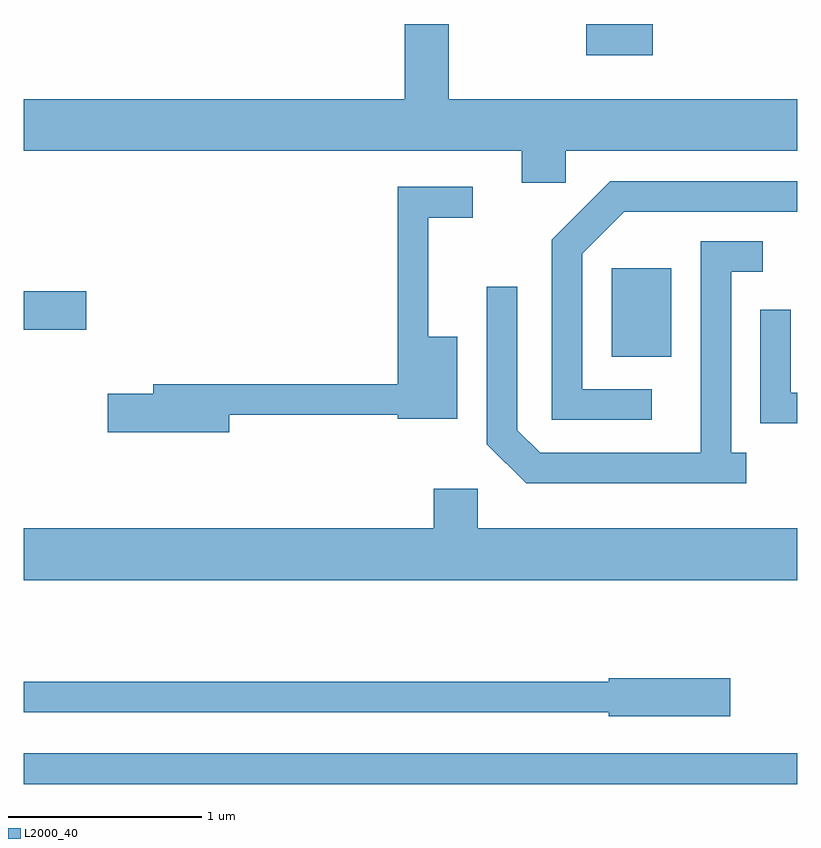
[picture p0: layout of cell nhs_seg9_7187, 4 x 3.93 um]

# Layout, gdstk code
import gdstk
lib = gdstk.Library(unit=1e-6, precision=1e-09)
def R(c, l, rs):  # rectangles x0, y0, x1, y1
    for r in rs: c.add(gdstk.rectangle(r[:2], r[2:], *l))
def P(c, l, *ps):  # polygons
    for p in ps: c.add(gdstk.Polygon(p, *l))
L2000_40 = (2000, 40)

nhs_seg9_7187 = lib.new_cell('nhs_seg9_7187')
R(nhs_seg9_7187, L2000_40, [(397.611,2028.501,401.611,2028.659), (400.651,2030.711,400.959,2031.169), (397.611,2030.851,397.934,2031.049), (400.521,2032.271,400.864,2032.432)])
P(nhs_seg9_7187, L2000_40, [(400.414,2031.776),(401.611,2031.776),(401.611,2032.044),(399.809,2032.044),(399.809,2032.432),(399.581,2032.432),(399.581,2032.044),(397.611,2032.044),(397.611,2031.776),(400.186,2031.776),(400.186,2031.611),(400.414,2031.611)],
  [(400.858,2030.544),(400.499,2030.544),(400.499,2031.244),(400.717,2031.461),(401.611,2031.461),(401.611,2031.619),(400.644,2031.619),(400.341,2031.317),(400.341,2030.386),(400.858,2030.386)],
  [(398.674,2030.411),(399.546,2030.411),(399.546,2030.391),(399.854,2030.391),(399.854,2030.814),(399.704,2030.814),(399.704,2031.431),(399.933,2031.431),(399.933,2031.589),(399.546,2031.589),(399.546,2030.569),(398.281,2030.569),(398.281,2030.519),(398.046,2030.519),(398.046,2030.321),(398.674,2030.321)],
  [(401.348,2030.214),(401.269,2030.214),(401.269,2031.151),(401.433,2031.151),(401.433,2031.309),(401.111,2031.309),(401.111,2030.214),(400.282,2030.214),(400.164,2030.332),(400.164,2031.073),(400.006,2031.073),(400.006,2030.259),(400.209,2030.056),(401.348,2030.056)],
  [(401.611,2030.524),(401.579,2030.524),(401.579,2030.953),(401.421,2030.953),(401.421,2030.366),(401.611,2030.366)],
  [(401.611,2029.824),(399.959,2029.824),(399.959,2030.029),(399.731,2030.029),(399.731,2029.824),(397.611,2029.824),(397.611,2029.556),(401.611,2029.556)],
  [(401.264,2029.049),(400.636,2029.049),(400.636,2029.029),(397.611,2029.029),(397.611,2028.871),(400.636,2028.871),(400.636,2028.851),(401.264,2028.851)])

lib.write_gds('nhs_seg9_7187.gds')
